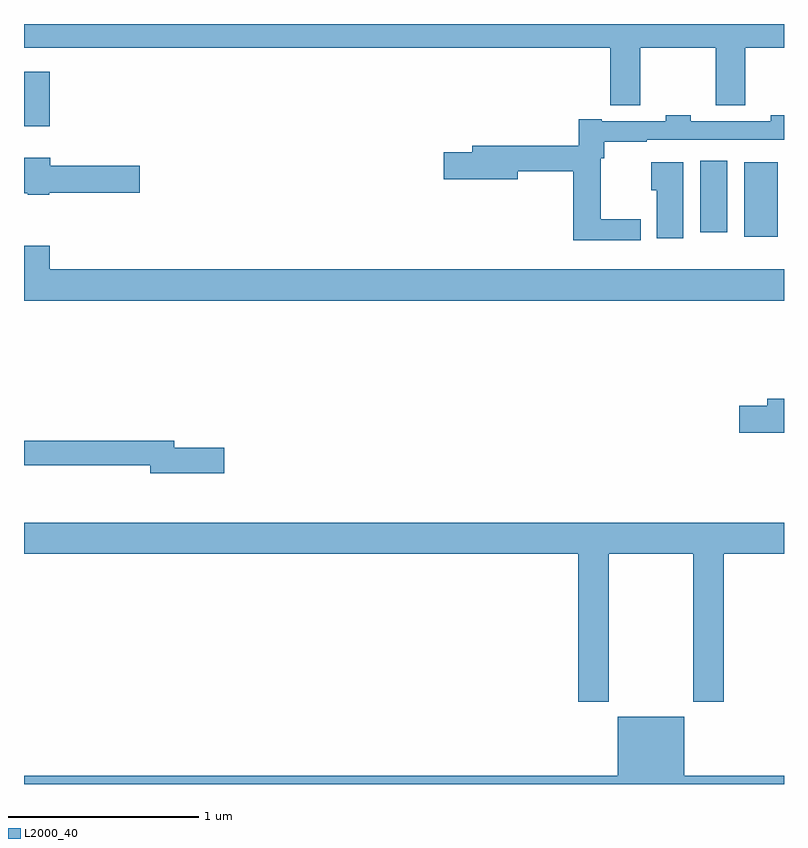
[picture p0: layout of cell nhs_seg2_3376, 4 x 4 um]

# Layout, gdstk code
import gdstk
lib = gdstk.Library(unit=1e-6, precision=1e-09)
def R(c, l, rs):  # rectangles x0, y0, x1, y1
    for r in rs: c.add(gdstk.rectangle(r[:2], r[2:], *l))
def P(c, l, *ps):  # polygons
    for p in ps: c.add(gdstk.Polygon(p, *l))
L2000_40 = (2000, 40)

nhs_seg2_3376 = lib.new_cell('nhs_seg2_3376')
R(nhs_seg2_3376, L2000_40, [(292.79,606.68,292.966,607.072), (292.559,606.705,292.702,607.081), (289,607.262,289.136,607.549)])
P(nhs_seg2_3376, L2000_40, [(292.244,607.676),(292.642,607.676),(292.642,607.372),(292.796,607.372),(292.796,607.676),(293,607.676),(293,607.8),(289,607.8),(289,607.676),(292.085,607.676),(292.085,607.372),(292.244,607.372)],
  [(292.246,606.772),(292.036,606.772),(292.036,607.094),(292.055,607.094),(292.055,607.179),(292.277,607.179),(292.277,607.191),(293,607.191),(293,607.32),(292.929,607.32),(292.929,607.287),(292.509,607.287),(292.509,607.32),(292.377,607.32),(292.377,607.287),(292.042,607.287),(292.042,607.3),(291.919,607.3),(291.919,607.16),(291.359,607.16),(291.359,607.124),(291.21,607.124),(291.21,606.982),(291.598,606.982),(291.598,607.024),(291.89,607.024),(291.89,606.662),(292.246,606.662)],
  [(289.134,606.913),(289.609,606.913),(289.609,607.055),(289.138,607.055),(289.138,607.096),(289,607.096),(289,606.908),(289.02,606.908),(289.02,606.902),(289.134,606.902)],
  [(292.471,607.072),(292.301,607.072),(292.301,606.925),(292.331,606.925),(292.331,606.672),(292.471,606.672)],
  [(293,606.508),(289.136,606.508),(289.136,606.632),(289,606.632),(289,606.344),(293,606.344)],
  [(293,605.828),(292.913,605.828),(292.913,605.792),(292.764,605.792),(292.764,605.65),(293,605.65)],
  [(290.053,605.57),(289.792,605.57),(289.792,605.606),(289,605.606),(289,605.478),(289.664,605.478),(289.664,605.435),(290.053,605.435)],
  [(292.077,605.012),(292.522,605.012),(292.522,604.233),(292.682,604.233),(292.682,605.012),(293,605.012),(293,605.176),(289,605.176),(289,605.012),(291.917,605.012),(291.917,604.233),(292.077,604.233)],
  [(293,603.844),(292.474,603.844),(292.474,604.153),(292.124,604.153),(292.124,603.844),(289,603.844),(289,603.8),(293,603.8)])

lib.write_gds('nhs_seg2_3376.gds')
